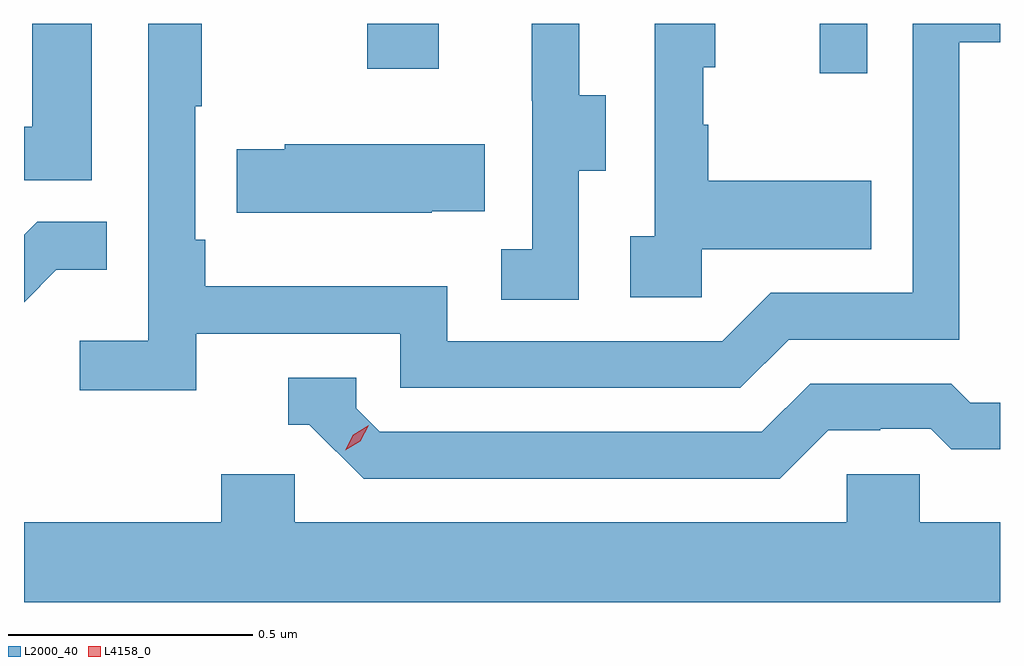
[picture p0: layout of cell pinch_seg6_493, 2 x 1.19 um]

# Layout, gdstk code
import gdstk
lib = gdstk.Library(unit=1e-6, precision=1e-09)
def R(c, l, rs):  # rectangles x0, y0, x1, y1
    for r in rs: c.add(gdstk.rectangle(r[:2], r[2:], *l))
def P(c, l, *ps):  # polygons
    for p in ps: c.add(gdstk.Polygon(p, *l))
L2000_40 = (2000, 40)
L4158_0 = (4158, 0)

pinch_seg6_493 = lib.new_cell('pinch_seg6_493')
R(pinch_seg6_493, L2000_40, [(877.598,936.432,877.695,936.533), (876.67,936.441,876.817,936.533)])
P(pinch_seg6_493, L2000_40, [(876.32,935.898),(876.738,935.898),(876.738,935.787),(877.435,935.787),(877.534,935.886),(877.884,935.886),(877.884,936.495),(877.967,936.495),(877.967,936.533),(877.788,936.533),(877.788,935.982),(877.497,935.982),(877.398,935.883),(876.834,935.883),(876.834,935.995),(876.338,935.995),(876.338,936.091),(876.318,936.091),(876.318,936.364),(876.331,936.364),(876.331,936.533),(876.222,936.533),(876.222,935.884),(876.081,935.884),(876.081,935.782),(876.32,935.782)],
  [(876.106,936.533),(875.984,936.533),(875.984,936.322),(875.967,936.322),(875.967,936.213),(876.106,936.213)],
  [(877.356,936.071),(877.703,936.071),(877.703,936.211),(877.369,936.211),(877.369,936.326),(877.359,936.326),(877.359,936.444),(877.384,936.444),(877.384,936.533),(877.26,936.533),(877.26,936.098),(877.209,936.098),(877.209,935.973),(877.356,935.973)],
  [(877.104,936.232),(877.159,936.232),(877.159,936.387),(877.105,936.387),(877.105,936.533),(877.007,936.533),(877.007,936.375),(877.008,936.375),(877.008,936.071),(876.945,936.071),(876.945,935.968),(877.104,935.968)],
  [(876.803,936.149),(876.911,936.149),(876.911,936.286),(876.501,936.286),(876.501,936.276),(876.403,936.276),(876.403,936.146),(876.803,936.146)],
  [(876.033,936.029),(876.137,936.029),(876.137,936.128),(875.994,936.128),(875.967,936.101),(875.967,935.963)],
  [(877.615,935.7),(877.722,935.7),(877.722,935.703),(877.825,935.703),(877.867,935.661),(877.967,935.661),(877.967,935.757),(877.906,935.757),(877.867,935.796),(877.578,935.796),(877.479,935.697),(876.696,935.697),(876.648,935.745),(876.648,935.808),(876.509,935.808),(876.509,935.712),(876.552,935.712),(876.663,935.601),(877.516,935.601)],
  [(877.967,935.512),(877.803,935.512),(877.803,935.61),(877.653,935.61),(877.653,935.512),(876.522,935.512),(876.522,935.61),(876.371,935.61),(876.371,935.512),(875.967,935.512),(875.967,935.348),(877.967,935.348)])
P(pinch_seg6_493, L4158_0, [(876.625,935.659),(876.625,935.659),(876.642,935.691),(876.673,935.71),(876.673,935.71),(876.673,935.71),(876.656,935.678),(876.625,935.659)])

lib.write_gds('pinch_seg6_493.gds')
